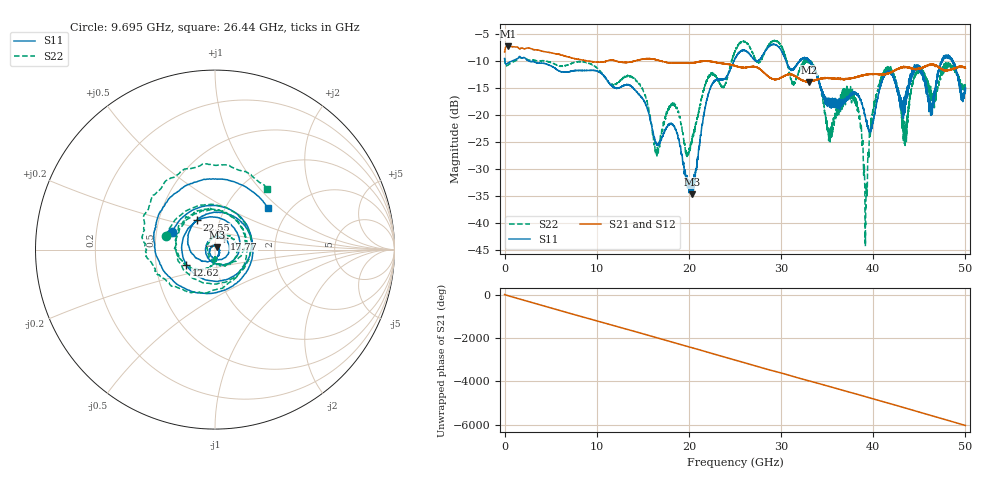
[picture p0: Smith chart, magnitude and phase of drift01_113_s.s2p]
!Created with skrf (http://scikit-rf.org).
# Hz S RI R 50.0
!freq ReS11 ImS11 ReS21 ImS21 ReS12 ImS12 ReS22 ImS22
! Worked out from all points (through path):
!   10001 points, 300 kHz to 50 GHz, reference 50 ohm
!   highest |S21| = -7.33 dB at 360.3 MHz (marker M1); lowest = -14.0 dB at 33.02 GHz (marker M2)
!   group delay of S21, straight-line fit = 335 ps
!   lowest |S11| = -34.7 dB at 20.32 GHz (marker M3), VSWR 1.04, Z = 51.4 + j1.27 ohm
!   |S11| at or under -10 dB: 2.549 GHz to 24.9 GHz (22.35 GHz wide, 163 % of centre); 30.53 GHz to 32.02 GHz (1.486 GHz wide, 4.75 % of centre); 33.08 GHz to 47.44 GHz (14.36 GHz wide, 35.7 % of centre) (the widest 3 of 21)
!   |S22| runs from -44.3 to -6.3 dB; largest |S21 - S12| = 0.01
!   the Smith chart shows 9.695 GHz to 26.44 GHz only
!   S11 on the Smith chart (normalised r, x): 9.695 GHz: 0.61, +0.12; 12.62 GHz: 0.72, -0.12; 17.77 GHz: 1.10, +0.14; 22.55 GHz: 0.78, +0.27; 26.44 GHz: 1.55, +0.84
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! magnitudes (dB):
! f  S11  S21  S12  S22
! 300 kHz  -9.6  -8.4  -8.5  -9.5
! 360.3 MHz  -10.5  -7.3  -7.3  -10.8
! 8.335 GHz  -11.8  -9.8  -9.9  -10.2
! 9.695 GHz  -11.8  -10.2  -10.2  -11.0
! 12.62 GHz  -14.9  -10.3  -10.3  -13.7
! 16.67 GHz  -25.6  -9.9  -9.9  -27.1
! 17.77 GHz  -21.8  -10.4  -10.4  -19.0
! 20.32 GHz  -34.7  -10.4  -10.4  -25.2
! 22.55 GHz  -14.2  -10.2  -10.2  -12.3
! 25 GHz  -9.6  -11.0  -11.0  -8.3
! 26.44 GHz  -8.5  -11.2  -11.2  -7.0
! 33.02 GHz  -9.9  -14.0  -13.9  -10.1
! 33.34 GHz  -10.6  -13.8  -13.8  -10.6
! 35.25 GHz  -17.8  -13.3  -13.3  -23.3
! 37.99 GHz  -16.0  -13.1  -13.1  -17.8
! 39.17 GHz  -20.6  -12.6  -12.6  -40.0
! 40.14 GHz  -19.9  -12.5  -12.5  -17.8
! 41.67 GHz  -11.9  -12.3  -12.3  -11.5
! 43.45 GHz  -17.9  -11.3  -11.3  -25.0
! 44.89 GHz  -11.1  -11.5  -11.5  -11.8
! 46.27 GHz  -19.4  -10.8  -10.7  -16.8
! 50 GHz  -15.6  -11.4  -11.4  -15.1
